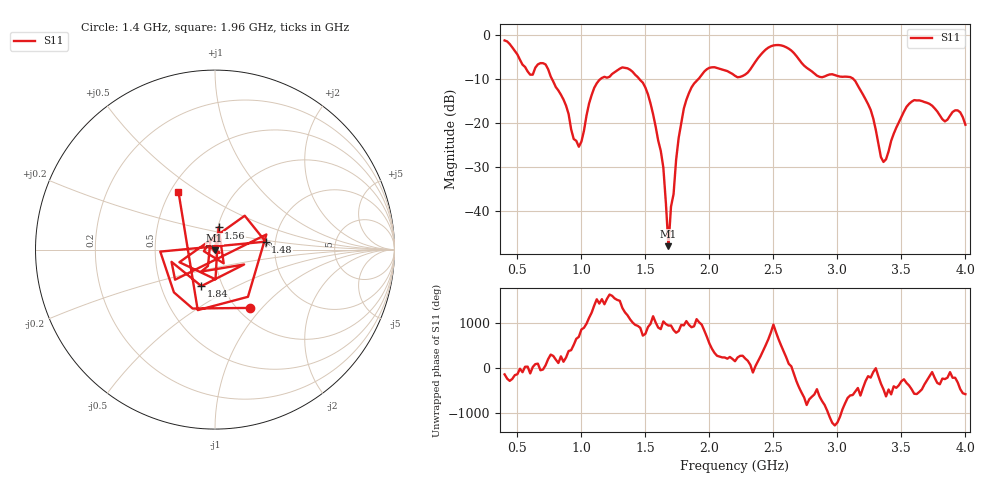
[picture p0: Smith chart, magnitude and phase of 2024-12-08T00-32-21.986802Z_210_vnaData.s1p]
!Created with skrf (http://scikit-rf.org).
# Hz S RI R 50.0
!freq ReS11 ImS11
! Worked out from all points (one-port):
!   181 points, 400 MHz to 4 GHz, reference 50 ohm
!   lowest |S11| = -48.1 dB at 1.68 GHz (marker M1), VSWR 1.01, Z = 49.8 - j0.315 ohm
!   |S11| at or under -10 dB: 769.2 MHz to 1.152 GHz (382.7 MHz wide, 39.8 % of centre); 1.451 GHz to 1.916 GHz (465 MHz wide, 27.6 % of centre); 3.123 GHz to end of sweep
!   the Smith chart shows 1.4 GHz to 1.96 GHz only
!   S11 on the Smith chart (normalised r, x): 1.4 GHz: 1.14, -0.87; 1.48 GHz: 1.77, +0.17; 1.56 GHz: 1.01, +0.25; 1.84 GHz: 0.79, -0.34; 1.96 GHz: 0.55, +0.42
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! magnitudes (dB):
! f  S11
! 400 MHz  -1.3
! 600 MHz  -9.1
! 720 MHz  -6.7
! 860 MHz  -14.7
! 980 MHz  -25.5
! 1.1 GHz  -12.1
! 1.3 GHz  -7.7
! 1.4 GHz  -8.4
! 1.48 GHz  -10.9
! 1.56 GHz  -18.1
! 1.64 GHz  -30.2
! 1.68 GHz  -48.1
! 1.7 GHz  -39.1
! 1.72 GHz  -36.2
! 1.76 GHz  -23.4
! 1.84 GHz  -13.3
! 1.96 GHz  -8.4
! 2.2 GHz  -9.3
! 2.48 GHz  -2.6
! 2.66 GHz  -4.1
! 2.86 GHz  -9.6
! 3.1 GHz  -9.6
! 3.26 GHz  -17.1
! 3.36 GHz  -28.9
! 3.56 GHz  -15.7
! 3.84 GHz  -19.7
! 3.94 GHz  -17.2
! 4 GHz  -20.4
